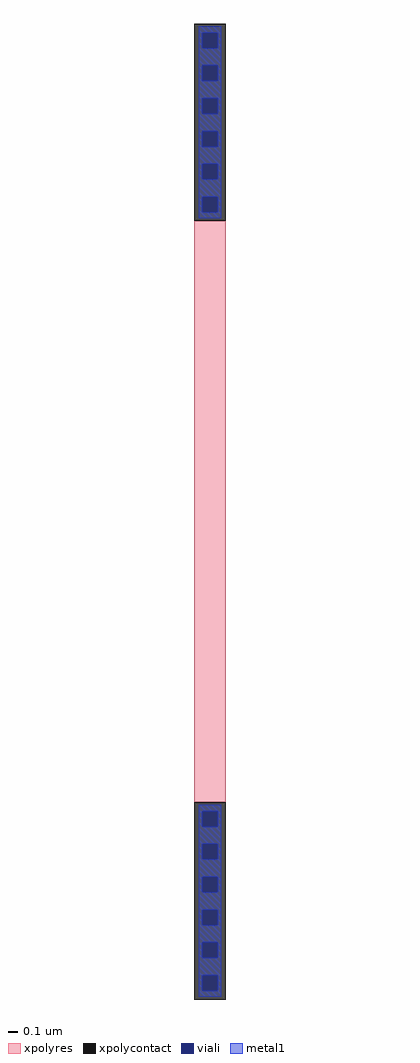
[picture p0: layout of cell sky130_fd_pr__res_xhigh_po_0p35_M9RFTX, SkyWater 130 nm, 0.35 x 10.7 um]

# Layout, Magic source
magic
tech sky130A
magscale 1 2
<< xpolycontact >>
rect -35 638 35 1070
rect -35 -1070 35 -638
<< xpolyres >>
rect -35 -638 35 638
<< viali >>
rect -17 1016 17 1050
rect -17 944 17 978
rect -17 872 17 906
rect -17 800 17 834
rect -17 728 17 762
rect -17 656 17 690
rect -17 -691 17 -657
rect -17 -763 17 -729
rect -17 -835 17 -801
rect -17 -907 17 -873
rect -17 -979 17 -945
rect -17 -1051 17 -1017
<< metal1 >>
rect -25 1050 25 1064
rect -25 1016 -17 1050
rect 17 1016 25 1050
rect -25 978 25 1016
rect -25 944 -17 978
rect 17 944 25 978
rect -25 906 25 944
rect -25 872 -17 906
rect 17 872 25 906
rect -25 834 25 872
rect -25 800 -17 834
rect 17 800 25 834
rect -25 762 25 800
rect -25 728 -17 762
rect 17 728 25 762
rect -25 690 25 728
rect -25 656 -17 690
rect 17 656 25 690
rect -25 643 25 656
rect -25 -657 25 -643
rect -25 -691 -17 -657
rect 17 -691 25 -657
rect -25 -729 25 -691
rect -25 -763 -17 -729
rect 17 -763 25 -729
rect -25 -801 25 -763
rect -25 -835 -17 -801
rect 17 -835 25 -801
rect -25 -873 25 -835
rect -25 -907 -17 -873
rect 17 -907 25 -873
rect -25 -945 25 -907
rect -25 -979 -17 -945
rect 17 -979 25 -945
rect -25 -1017 25 -979
rect -25 -1051 -17 -1017
rect 17 -1051 25 -1017
rect -25 -1064 25 -1051
<< end >>
